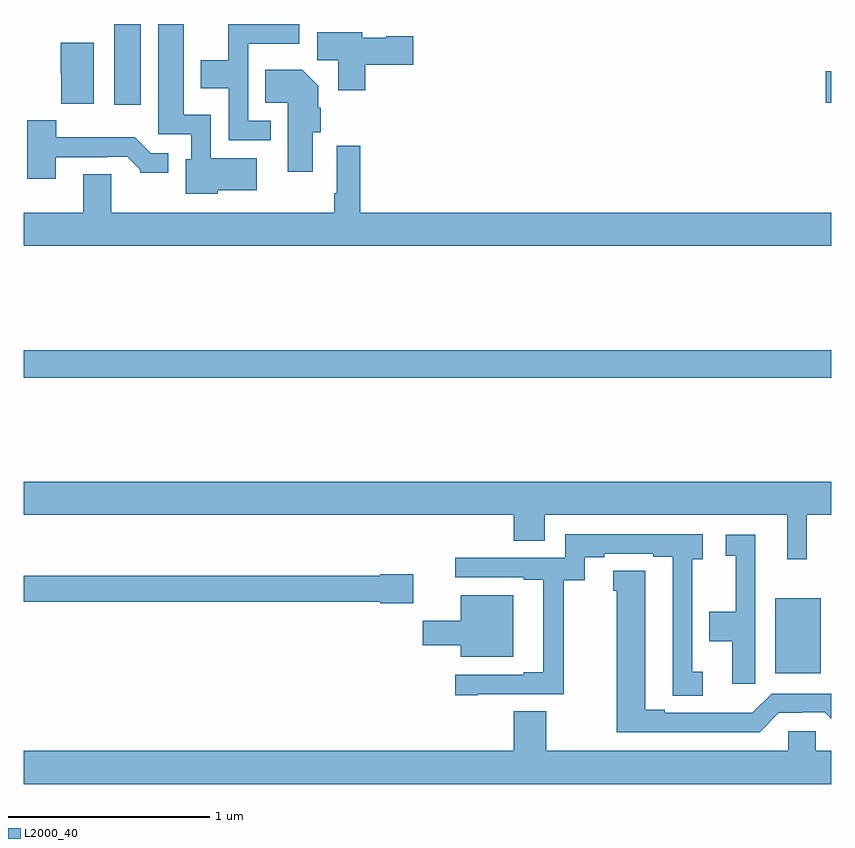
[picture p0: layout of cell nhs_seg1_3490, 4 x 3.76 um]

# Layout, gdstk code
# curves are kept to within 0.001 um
import gdstk
lib = gdstk.Library(unit=1e-6, precision=1e-09)
def R(c, l, rs):  # rectangles x0, y0, x1, y1
    for r in rs: c.add(gdstk.rectangle(r[:2], r[2:], *l))
def P(c, l, *ps):  # polygons
    for p in ps: c.add(gdstk.Polygon(p, *l))
L2000_40 = (2000, 40)

nhs_seg1_3490 = lib.new_cell('nhs_seg1_3490')
R(nhs_seg1_3490, L2000_40, [(304.721,514.985,304.948,515.356), (301,516.448,305,516.584), (301.448,517.8,301.579,518.199), (304.971,517.808,305,517.966)])
P(nhs_seg1_3490, L2000_40, [(302.224,517.719),(302.112,517.719),(302.112,518.102),(302.365,518.102),(302.365,518.199),(302.014,518.199),(302.014,518.02),(301.877,518.02),(301.877,517.88),(302.016,517.88),(302.016,517.623),(302.224,517.623)],
  [(301.962,517.376),(302.155,517.376),(302.155,517.534),(301.926,517.534),(301.926,517.75),(301.792,517.75),(301.792,518.199),(301.667,518.199),(301.667,517.653),(301.83,517.653),(301.83,517.53),(301.802,517.53),(301.802,517.358),(301.962,517.358)],
  [(302.693,517.996),(302.929,517.996),(302.929,518.139),(302.796,518.139),(302.796,518.131),(302.676,518.131),(302.676,518.158),(302.453,518.158),(302.453,518.02),(302.558,518.02),(302.558,517.871),(302.693,517.871)],
  [(301.348,518.107),(301.184,518.107),(301.184,517.953),(301.186,517.953),(301.186,517.805),(301.348,517.805)],
  [(302.431,517.662),(302.471,517.662),(302.471,517.784),(302.458,517.784),(302.458,517.894),(302.38,517.972),(302.197,517.972),(302.197,517.808),(302.309,517.808),(302.309,517.467),(302.431,517.467)],
  [(301.159,517.539),(301.415,517.539),(301.415,517.542),(301.514,517.542),(301.578,517.478),(301.578,517.463),(301.717,517.463),(301.717,517.56),(301.629,517.56),(301.551,517.639),(301.162,517.639),(301.162,517.723),(301.019,517.723),(301.019,517.434),(301.159,517.434)],
  [(305,517.264),(302.666,517.264),(302.666,517.597),(302.55,517.597),(302.55,517.36),(302.538,517.36),(302.538,517.264),(301.435,517.264),(301.435,517.454),(301.295,517.454),(301.295,517.264),(301,517.264),(301,517.1),(305,517.1)],
  [(304.878,515.768),(305,515.768),(305,515.932),(301,515.932),(301,515.768),(303.428,515.768),(303.428,515.641),(303.58,515.641),(303.58,515.768),(304.781,515.768),(304.781,515.55),(304.878,515.55)],
  [(304.363,514.992),(304.311,514.992),(304.311,515.549),(304.363,515.549),(304.363,515.673),(303.681,515.673),(303.681,515.556),(303.138,515.556),(303.138,515.46),(303.476,515.46),(303.476,515.448),(303.572,515.448),(303.572,514.99),(303.476,514.99),(303.476,514.977),(303.138,514.977),(303.138,514.876),(303.25,514.876),(303.25,514.881),(303.674,514.881),(303.674,515.444),(303.778,515.444),(303.778,515.559),(303.874,515.559),(303.874,515.577),(304.118,515.577),(304.118,515.562),(304.214,515.562),(304.214,514.981),(304.215,514.981),(304.215,514.873),(304.363,514.873)],
  [(304.624,515.671),(304.476,515.671),(304.476,515.565),(304.526,515.565),(304.526,515.29),(304.396,515.29),(304.396,515.143),(304.508,515.143),(304.508,514.932),(304.624,514.932)],
  [(304.74,514.788),(304.856,514.788),(304.856,514.791),(304.968,514.791),(305,514.759),(305,514.884),(304.704,514.884),(304.609,514.789),(304.174,514.788),(304.174,514.803),(304.078,514.803),(304.077,515.492),(303.92,515.492),(303.92,515.394),(303.938,515.394),(303.938,514.692),(304.644,514.692)],
  [(302.929,515.475),(302.766,515.475),(302.766,515.467),(301,515.467),(301,515.338),(302.766,515.338),(302.766,515.33),(302.929,515.33)],
  [(303.424,515.371),(303.164,515.371),(303.164,515.245),(302.976,515.245),(302.976,515.123),(303.164,515.123),(303.164,515.066),(303.424,515.066)],
  [(305,514.6),(304.923,514.6),(304.923,514.698),(304.785,514.698),(304.785,514.6),(303.588,514.6),(303.588,514.796),(303.428,514.796),(303.428,514.6),(301,514.6),(301,514.436),(305,514.436)])

lib.write_gds('nhs_seg1_3490.gds')
